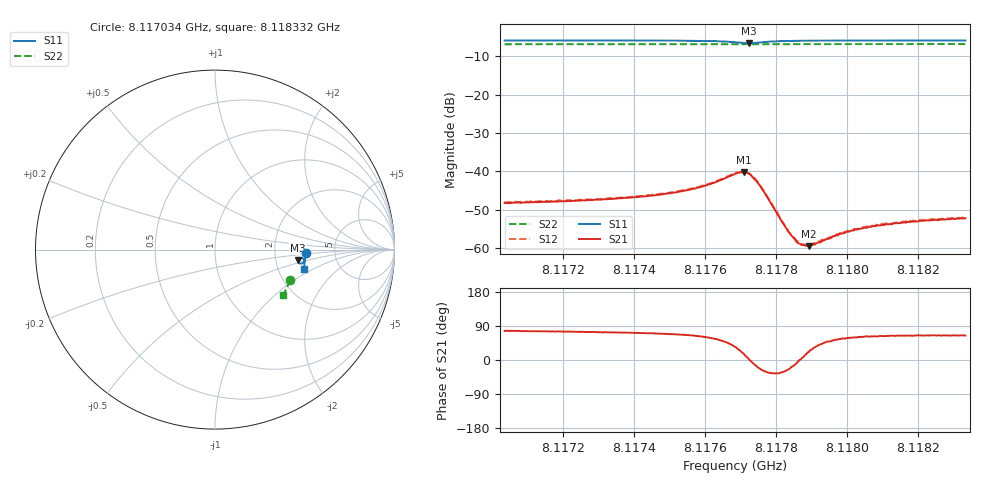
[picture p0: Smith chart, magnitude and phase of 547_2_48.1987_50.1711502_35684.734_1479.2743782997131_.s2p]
#  HZ  S  RI  R  50.00
! Rohde & Schwarz Vector Network Analyzer
! Rohde-Schwarz,ZNB20-2Port,1311601062101988,3.16
! Created: UTC 3/20/2024, 12:00:37 PM
! freq[Hz]  re:S11  im:S11  re:S21  im:S21  re:S12  im:S12  re:S22  im:S22
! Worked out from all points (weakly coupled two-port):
!   401 points, 8.117034 GHz to 8.118332 GHz, reference 50 ohm
!   highest |S21| = -40.23 dB at 8.117709 GHz (marker M1); lowest = -59.5 dB at 8.117891 GHz (marker M2)
!   lowest |S11| = -6.6 dB at 8.117722 GHz (marker M3), VSWR 2.75, Z = 134 - j20.4 ohm
!   |S11| at or under -10 dB: nowhere
!   |S22| runs from -6.9 to -6.8 dB; largest |S21 - S12| = 0.00036
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8.1170344e9  0.5063 -0.0182  0.000889 0.00375  0.000895 0.00385  0.418 -0.1708
8.1172517e9  0.5049 -0.0358  0.00113 0.00403  0.00122 0.00406  0.4125 -0.1851
8.117375e9  0.5034 -0.0463  0.00136 0.00428  0.00148 0.00432  0.4093 -0.1929
8.1174691e9  0.5015 -0.0552  0.00173 0.00461  0.00179 0.00471  0.4064 -0.1991
8.1175859e9  0.4962 -0.0687  0.00288 0.00551  0.00298 0.00559  0.403 -0.2066
8.1176216e9  0.4919 -0.0737  0.00382 0.0059  0.00392 0.00595  0.4016 -0.209
8.1176832e9  0.4736 -0.0778  0.00761 0.00522  0.00775 0.00531  0.399 -0.2127
8.1177092e9  0.4633 -0.0681  0.00941 0.00252  0.00953 0.00244  0.398 -0.2137
8.1177221e9  0.4625 -0.0596  0.0093 0.000423  0.00939 0.00037  0.3976 -0.2139
8.1177384e9  0.4675 -0.0503  0.0077 -0.00162  0.00794 -0.0018  0.3975 -0.2146
8.1177546e9  0.4757 -0.046  0.0058 -0.00257  0.00596 -0.00265  0.3975 -0.2155
8.1178389e9  0.4963 -0.0582  0.00142 -0.000554  0.00144 -0.000534  0.3957 -0.2213
8.1178649e9  0.4978 -0.0625  0.00114 8.4e-06  0.00115 -3.03e-05  0.3947 -0.223
8.1178779e9  0.4982 -0.0644  0.00108 0.000187  0.00108 0.000208  0.3946 -0.224
8.1178908e9  0.4984 -0.0661  0.000982 0.000383  0.00101 0.000442  0.3941 -0.2247
8.1179006e9  0.4987 -0.0674  0.000951 0.000528  0.000968 0.000537  0.3937 -0.2255
8.1179655e9  0.4987 -0.075  0.000847 0.00116  0.000938 0.00112  0.3916 -0.2296
8.1180044e9  0.4985 -0.079  0.000844 0.00139  0.000873 0.00141  0.3904 -0.232
8.1180498e9  0.4982 -0.0832  0.000851 0.00164  0.000882 0.00164  0.3888 -0.2349
8.1181179e9  0.4973 -0.0893  0.000908 0.00184  0.000965 0.00187  0.3864 -0.2391
8.118225e9  0.4958 -0.0982  0.000972 0.00207  0.00103 0.00214  0.3827 -0.2455
8.1183321e9  0.4941 -0.1066  0.00106 0.0022  0.00107 0.00225  0.3788 -0.252
